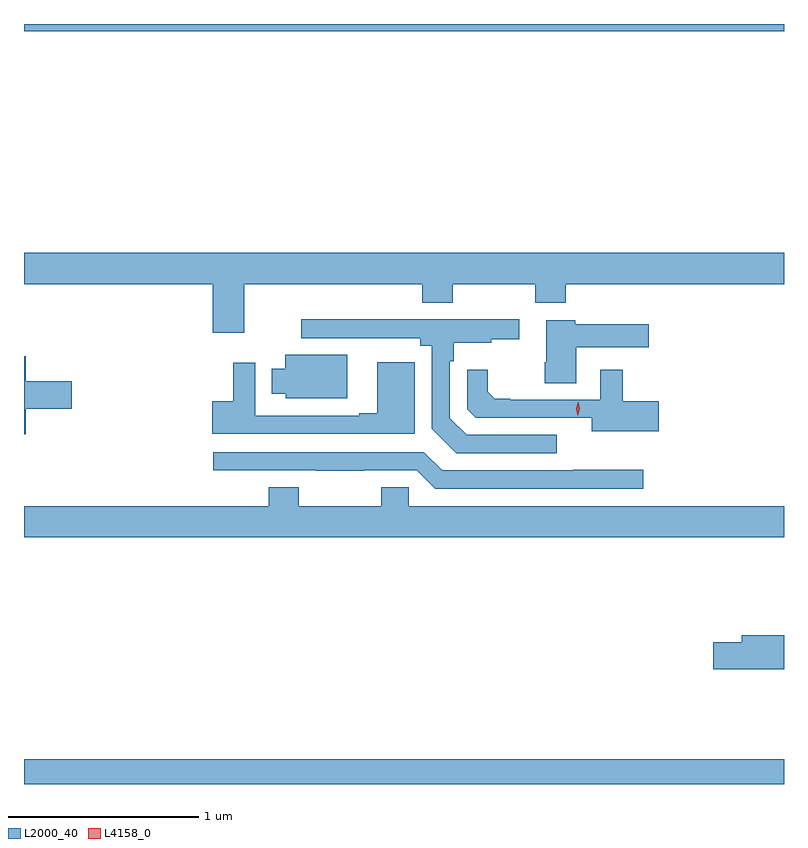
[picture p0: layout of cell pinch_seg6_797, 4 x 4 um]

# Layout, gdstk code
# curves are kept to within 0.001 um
import gdstk
lib = gdstk.Library(unit=1e-6, precision=1e-09)
def R(c, l, rs):  # rectangles x0, y0, x1, y1
    for r in rs: c.add(gdstk.rectangle(r[:2], r[2:], *l))
def P(c, l, *ps):  # polygons
    for p in ps: c.add(gdstk.Polygon(p, *l))
L2000_40 = (2000, 40)
L4158_0 = (4158, 0)

pinch_seg6_797 = lib.new_cell('pinch_seg6_797')
R(pinch_seg6_797, L2000_40, [(147.944,955.361,151.944,955.492), (147.944,959.324,151.944,959.361)])
P(pinch_seg6_797, L2000_40, [(149.102,957.992),(150.041,957.992),(150.041,957.893),(150.201,957.893),(150.201,957.992),(150.634,957.992),(150.634,957.893),(150.794,957.893),(150.794,957.992),(151.944,957.992),(151.944,958.156),(147.944,958.156),(147.944,957.992),(148.937,957.992),(148.937,957.735),(149.102,957.735)],
  [(150.748,957.198),(150.273,957.198),(150.186,957.285),(150.186,957.587),(150.206,957.587),(150.206,957.683),(150.402,957.683),(150.402,957.703),(150.55,957.703),(150.55,957.806),(149.403,957.806),(149.403,957.708),(150.03,957.708),(150.03,957.668),(150.09,957.668),(150.09,957.23),(150.218,957.102),(150.748,957.102)],
  [(150.85,957.659),(151.231,957.659),(151.231,957.781),(150.846,957.781),(150.846,957.802),(150.692,957.802),(150.692,957.58),(150.685,957.58),(150.685,957.469),(150.85,957.469)],
  [(149.644,957.619),(149.318,957.619),(149.318,957.546),(149.249,957.546),(149.249,957.416),(149.322,957.416),(149.322,957.392),(149.644,957.392)],
  [(147.952,957.335),(148.195,957.335),(148.195,957.482),(147.952,957.482),(147.952,957.613),(147.944,957.613),(147.944,957.203),(147.952,957.203)],
  [(150.001,957.58),(149.804,957.58),(149.804,957.313),(149.708,957.313),(149.708,957.3),(149.16,957.3),(149.16,957.577),(149.044,957.577),(149.044,957.376),(148.934,957.376),(148.934,957.204),(150.001,957.204)],
  [(151.285,957.376),(151.094,957.376),(151.094,957.541),(150.978,957.541),(150.978,957.384),(150.502,957.384),(150.502,957.389),(150.422,957.389),(150.385,957.426),(150.385,957.541),(150.276,957.541),(150.276,957.333),(150.321,957.288),(150.932,957.288),(150.932,957.218),(151.285,957.218)],
  [(151.204,957.014),(150.835,957.014),(150.835,957.012),(150.145,957.012),(150.049,957.108),(148.941,957.108),(148.941,957.012),(150.012,957.012),(150.108,956.916),(151.204,956.916)],
  [(151.944,956.824),(149.97,956.824),(149.97,956.922),(149.824,956.922),(149.824,956.824),(149.391,956.824),(149.391,956.923),(149.231,956.923),(149.231,956.824),(147.944,956.824),(147.944,956.66),(151.944,956.66)],
  [(151.944,956.144),(151.721,956.144),(151.721,956.108),(151.572,956.108),(151.572,955.966),(151.944,955.966)])
P(pinch_seg6_797, L4158_0, [(150.858,957.3),(150.858,957.3),(150.85,957.336),(150.861,957.372),(150.861,957.372),(150.861,957.372),(150.87,957.336),(150.858,957.3)])

lib.write_gds('pinch_seg6_797.gds')
